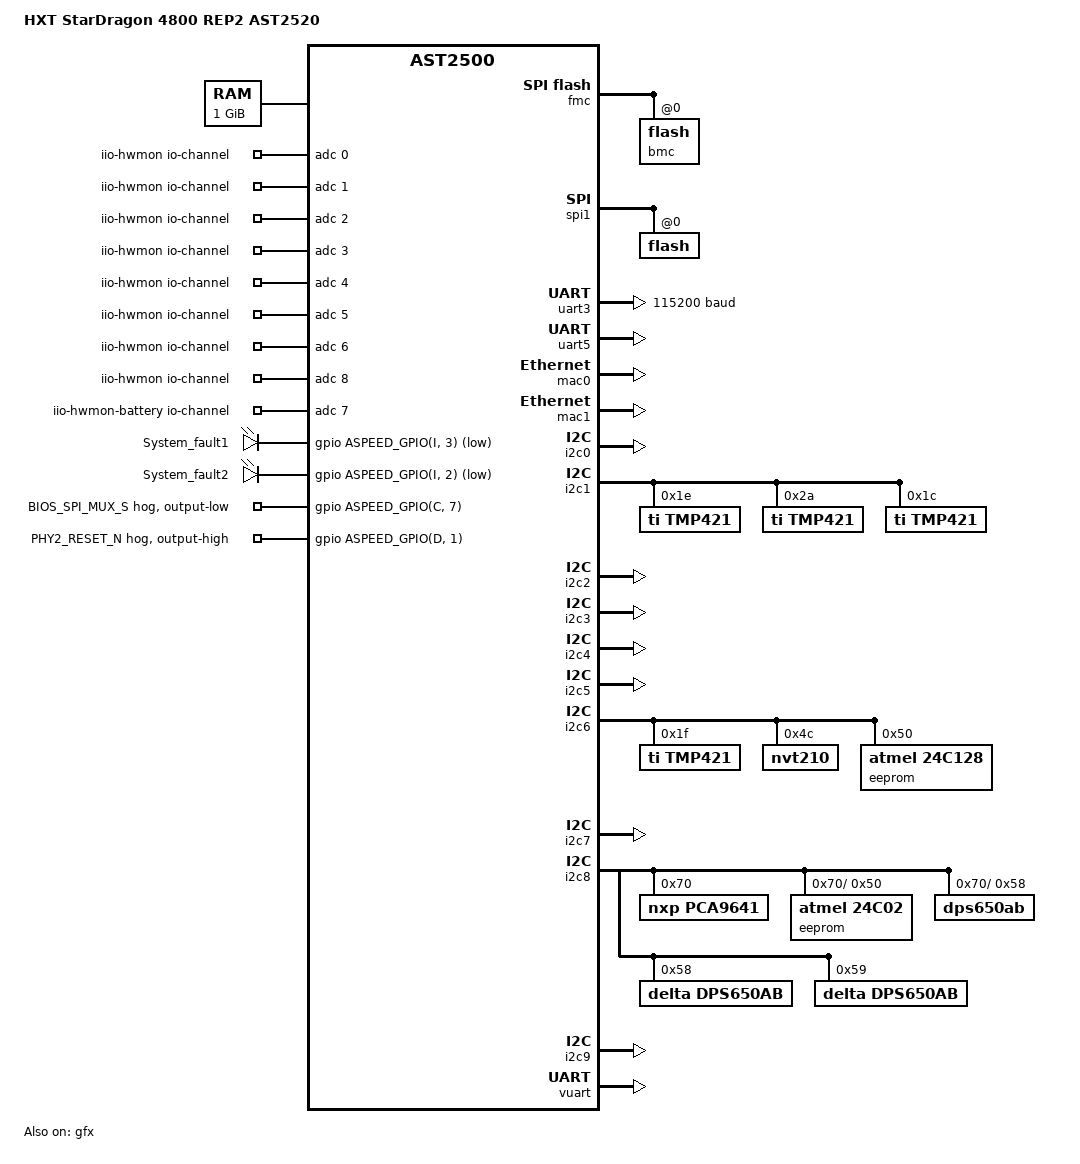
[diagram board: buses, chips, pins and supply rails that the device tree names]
// SPDX-License-Identifier: GPL-2.0+
/dts-v1/;

#include "aspeed-g5.dtsi"
#include <dt-bindings/gpio/aspeed-gpio.h>

/ {
	model = "HXT StarDragon 4800 REP2 AST2520";
	compatible = "hxt,stardragon4800-rep2-bmc", "aspeed,ast2500";

	chosen {
		stdout-path = &uart5;
		bootargs = "console=ttyS4,115200 earlycon";
	};

	memory@80000000 {
		reg = <0x80000000 0x40000000>;
	};

	iio-hwmon {
		compatible = "iio-hwmon";
		io-channels = <&adc 0>, <&adc 1>, <&adc 2>, <&adc 3>,
						<&adc 4>, <&adc 5>, <&adc 6>, <&adc 8>;
	};

	iio-hwmon-battery {
		compatible = "iio-hwmon";
		io-channels = <&adc 7>;
	};

	leds {
		compatible = "gpio-leds";

		system_fault1 {
			label = "System_fault1";
			gpios = <&gpio ASPEED_GPIO(I, 3) GPIO_ACTIVE_LOW>;
		};

		system_fault2 {
			label = "System_fault2";
			gpios = <&gpio ASPEED_GPIO(I, 2) GPIO_ACTIVE_LOW>;
		};
	};
};

&fmc {
	status = "okay";
	flash@0 {
		status = "okay";
		m25p,fast-read;
		label = "bmc";
#include "openbmc-flash-layout.dtsi"
	};
};

&spi1 {
	status = "okay";
	pinctrl-names = "default";
	pinctrl-0 = <&pinctrl_spi1_default>;
	flash@0 {
		status = "okay";
	};
};

&spi2 {
	pinctrl-names = "default";
	pinctrl-0 = <&pinctrl_spi2ck_default
			&pinctrl_spi2miso_default
			&pinctrl_spi2mosi_default
			&pinctrl_spi2cs0_default>;
};

&uart3 {
	status = "okay";

	pinctrl-names = "default";
	pinctrl-0 = <&pinctrl_txd3_default &pinctrl_rxd3_default>;
	current-speed = <115200>;
};

&uart5 {
	status = "okay";
};

&mac0 {
	status = "okay";
	pinctrl-names = "default";
	pinctrl-0 = <&pinctrl_rgmii1_default &pinctrl_mdio1_default>;
};

&mac1 {
	status = "okay";
	pinctrl-names = "default";
	pinctrl-0 = <&pinctrl_rmii2_default>;
	clocks = <&syscon ASPEED_CLK_GATE_MAC2CLK>,
		 <&syscon ASPEED_CLK_MAC2RCLK>;
	clock-names = "MACCLK", "RCLK";
	use-ncsi;
};

&i2c0 {
	status = "okay";
};

&i2c1 {
	status = "okay";

	tmp421@1e {
		compatible = "ti,tmp421";
		reg = <0x1e>;
	};
	tmp421@2a {
		compatible = "ti,tmp421";
		reg = <0x2a>;
	};
	tmp421@1c {
		compatible = "ti,tmp421";
		reg = <0x1c>;
	};
};

&i2c2 {
	status = "okay";
};

&i2c3 {
	status = "okay";
};

&i2c4 {
	status = "okay";
};

&i2c5 {
	status = "okay";
};

&i2c6 {
	status = "okay";

	tmp421@1f {
		compatible = "ti,tmp421";
		reg = <0x1f>;
	};
	nvt210@4c {
		compatible = "nvt210";
		reg = <0x4c>;
	};
	eeprom@50 {
		compatible = "atmel,24c128";
		reg = <0x50>;
		pagesize = <128>;
	};
};

&i2c7 {
	status = "okay";
};

&i2c8 {
	status = "okay";

	pca9641@70 {
		compatible = "nxp,pca9641";
		reg = <0x70>;
		i2c-arb {
			#address-cells = <1>;
			#size-cells = <0>;
			eeprom@50 {
				compatible = "atmel,24c02";
				reg = <0x50>;
			};
			dps650ab@58 {
				compatible = "dps650ab";
				reg = <0x58>;
			};
		};
	};

	dps650ab@58 {
		compatible = "delta,dps650ab";
		reg = <0x58>;
	};

	dps650ab@59 {
		compatible = "delta,dps650ab";
		reg = <0x59>;
	};
};

&i2c9 {
	status = "okay";
};

&vuart {
	status = "okay";
};

&gfx {
	status = "okay";
};

&gpio {
	pin_gpio_c7 {
		gpio-hog;
		gpios = <ASPEED_GPIO(C, 7) GPIO_ACTIVE_HIGH>;
		output-low;
		line-name = "BIOS_SPI_MUX_S";
	};
	pin_gpio_d1 {
		gpio-hog;
		gpios = <ASPEED_GPIO(D, 1) GPIO_ACTIVE_HIGH>;
		output-high;
		line-name = "PHY2_RESET_N";
	};
};
